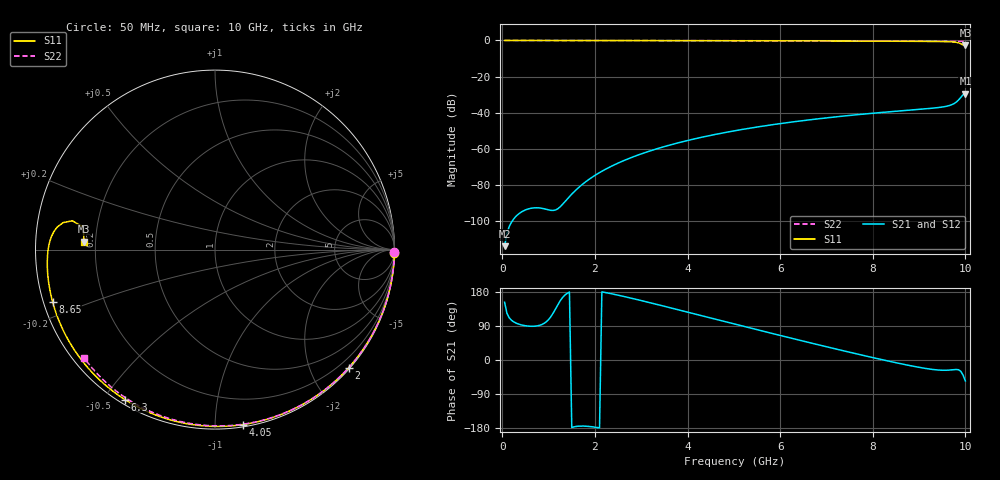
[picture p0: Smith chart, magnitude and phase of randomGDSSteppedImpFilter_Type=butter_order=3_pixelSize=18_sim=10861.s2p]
! freq	dB(S11)	phase(S11)	dB(S12)	phase(S12)
!  dB(S21)	phase(S21)	dB(S22)	phase(S22)
!S-par simulation data
#  GHz  S  DB  R 50
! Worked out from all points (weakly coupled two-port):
!   200 points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, 50 MHz to 10 GHz, reference 50 ohm
!   highest |S21| = -29.56 dB at 10 GHz (marker M1); lowest = -114.1 dB at 50 MHz (marker M2)
!   lowest |S11| = -2.7 dB at 10 GHz (marker M3), VSWR 6.43, Z = 7.79 + j1.5 ohm
!   |S11| at or under -10 dB: nowhere
!   |S22| runs from -0.5 to 0.0 dB; largest |S21 - S12| = 0
!   S11 on the Smith chart (normalised r, x): 50 MHz: open; 2 GHz: 0.02, -2.64; 4.05 GHz: 0.02, -1.17; 6.3 GHz: 0.02, -0.57; 8.65 GHz: 0.03, -0.16; 10 GHz: 0.16, +0.03
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0.05  -0.00 -1.1  -114.07 152.4  -114.07 152.4  -0.00 -0.8
0.85  -0.02 -17.9  -93.04 93.4  -93.04 93.4  -0.02 -13.7
1.7  -0.04 -35.4  -80.42 -174.4  -80.42 -174.4  -0.03 -27.2
1.75  -0.05 -36.4  -79.37 -174.4  -79.37 -174.4  -0.04 -28.0
2  -0.05 -41.5  -74.83 -177.2  -74.83 -177.2  -0.04 -31.9
2.3  -0.06 -47.5  -70.46 176.3  -70.46 176.3  -0.05 -36.6
2.6  -0.07 -53.4  -66.88 168.4  -66.88 168.4  -0.05 -41.2
3  -0.08 -61.2  -62.90 156.8  -62.90 156.8  -0.06 -47.2
3.4  -0.09 -68.9  -59.59 144.8  -59.59 144.8  -0.07 -53.2
4.05  -0.11 -81.0  -55.17 124.8  -55.17 124.8  -0.09 -62.8
5.05  -0.15 -99.1  -49.93 93.9  -49.93 93.9  -0.12 -76.9
6.3  -0.22 -121.0  -45.08 55.8  -45.08 55.8  -0.17 -93.8
6.7  -0.25 -127.9  -43.81 43.8  -43.81 43.8  -0.19 -99.1
7.55  -0.32 -142.5  -41.45 19.0  -41.45 19.0  -0.25 -110.0
8.35  -0.40 -156.7  -39.57 -3.2  -39.57 -3.2  -0.31 -120.0
8.65  -0.44 -162.2  -38.93 -11.0  -38.93 -11.0  -0.33 -123.7
9.35  -0.57 -176.0  -37.39 -25.7  -37.39 -25.7  -0.40 -132.3
9.65  -0.72 176.8  -36.11 -26.7  -36.11 -26.7  -0.44 -136.0
9.8  -1.04 171.8  -34.25 -25.0  -34.25 -25.0  -0.45 -137.8
9.9  -1.82 168.6  -31.57 -29.7  -31.57 -29.7  -0.46 -139.0
9.95  -2.56 170.3  -30.08 -39.8  -30.08 -39.8  -0.46 -139.6
10  -2.72 176.5  -29.56 -55.5  -29.56 -55.5  -0.46 -140.3
